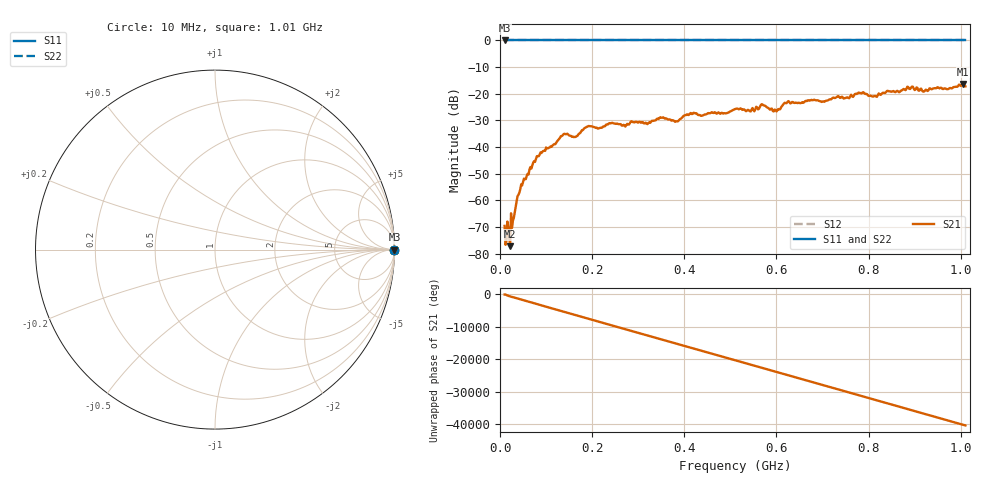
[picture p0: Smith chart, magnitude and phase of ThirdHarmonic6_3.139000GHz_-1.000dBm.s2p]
! 8/17/2025 9:22:02 AM
! C:\ANRITSUVNA\TEMP\TEMP.S2P
! CHANNEL.1
! TR.MEASUREMENT
! RAW.DATA
! RF.CORRECTION.OFF
! AVERAGING.OFF
! IF.BANDWIDTH: 5KHZ
! SWEEPTYPE:  FREQ.SWEEP(Linear)
! Reference Plane Port Info
! PORT:  PORT1  PORT2
! DISTANCE:  0  m  0  m
! TIME:  0  s  0  s
! PHASE.OFFSET:  0  deg.  0  deg.
! LOSS:  0  dB  0  dB
! REF.LOSS:  0  dB  0  dB
! REF.FREQ:  0  Hz  0  Hz
! Power Info
! POWER:  -20  dBm  -20  dBm
! EFF.POWER:  -20  dBm  -20  dBm
! SOURCE.ATTEN:  0  dB  0  dB
! TEST.ATTEN:  0  dB  0  dB
# GHZ S RI R 50.0
! FREQ.GHZ  S11RE  S11IM  S21RE  S21IM  S12RE  S12IM  S22RE  S22IM
!; PortSelection: Port_12
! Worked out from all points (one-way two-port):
!   501 points, 10 MHz to 1.01 GHz, reference 50 ohm
!   highest |S21| = -16.34 dB at 1.004 GHz (marker M1); lowest = -77.2 dB at 22 MHz (marker M2)
!   lowest |S11| = 0.0 dB at 10 MHz (marker M3)
!   |S11| at or under -10 dB: nowhere
!   |S22| runs from 0.0 to 0.0 dB; largest |S21 - S12| = 1.1
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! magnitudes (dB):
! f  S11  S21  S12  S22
! 10 MHz  0.0  -69.6  0.0  0.0
! 18 MHz  0.0  -70.0  0.0  0.0
! 22 MHz  0.0  -77.2  0.0  0.0
! 42 MHz  0.0  -57.1  0.0  0.0
! 78 MHz  0.0  -44.5  0.0  0.0
! 136 MHz  0.0  -35.6  0.0  0.0
! 164 MHz  0.0  -36.2  0.0  0.0
! 178 MHz  0.0  -33.7  0.0  0.0
! 344 MHz  0.0  -29.5  0.0  0.0
! 384 MHz  0.0  -30.3  0.0  0.0
! 416 MHz  0.0  -27.6  0.0  0.0
! 510 MHz  0.0  -25.8  0.0  0.0
! 548 MHz  0.0  -25.4  0.0  0.0
! 570 MHz  0.0  -24.1  0.0  0.0
! 596 MHz  0.0  -25.9  0.0  0.0
! 622 MHz  0.0  -23.5  0.0  0.0
! 678 MHz  0.0  -22.4  0.0  0.0
! 784 MHz  0.0  -19.9  0.0  0.0
! 814 MHz  0.0  -20.8  0.0  0.0
! 844 MHz  0.0  -19.1  0.0  0.0
! 1.004 GHz  0.0  -16.3  0.0  0.0
! 1.01 GHz  0.0  -17.2  0.0  0.0
